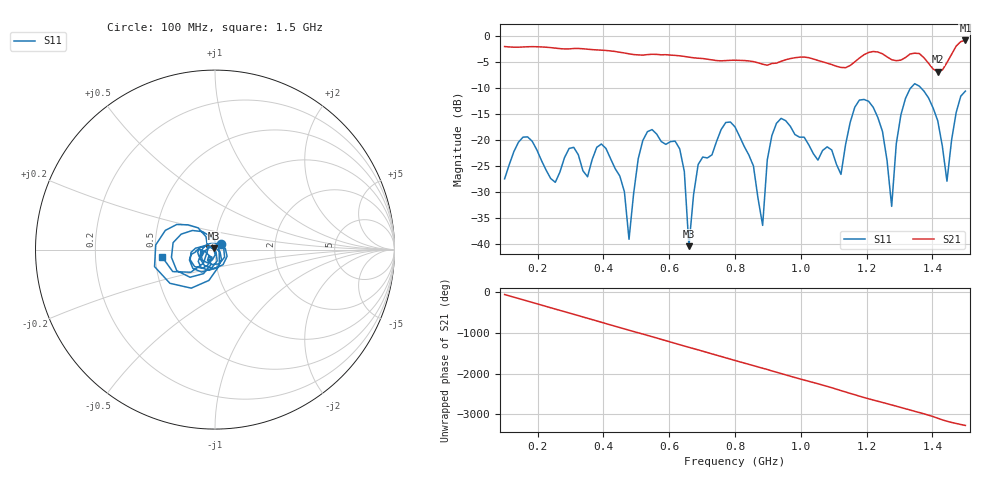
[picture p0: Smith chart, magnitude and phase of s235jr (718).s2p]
! NanoVNA-App
! Date: 2025-09-25 15:09:45
! Start: 100MHz Stop: 1,5GHz Points: 101
! S-Parameter data: F S11 S21 S12 S22
# Hz S RI R 50
!  Frequency  S11_Real  S11_Imag  S21_Real  S21_Imag  S12_Real  S12_Imag  S22_Real  S22_Imag
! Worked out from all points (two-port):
!   101 points, 100 MHz to 1.5 GHz, reference 50 ohm
!   highest |S21| = -0.79 dB at 1.5 GHz (marker M1); lowest = -6.8 dB at 1.416 GHz (marker M2)
!   |S21| within 3 dB of the highest: start of sweep to 636.6 MHz; 1.187 GHz to 1.258 GHz (71.51 MHz wide, 5.85 % of centre) (the widest 2 of 4)
!   lowest |S11| = -40.5 dB at 660 MHz (marker M3), VSWR 1.02, Z = 49.3 + j0.605 ohm
!   |S11| at or under -10 dB: start of sweep to 1.333 GHz; 1.366 GHz to end of sweep
!   S12 and S22 are empty: the file has one direction only
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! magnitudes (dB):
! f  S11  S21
! 100 MHz  -27.5  -2.0
! 156 MHz  -19.4  -2.0
! 338 MHz  -25.9  -2.4
! 408 MHz  -21.6  -2.7
! 478 MHz  -39.1  -3.4
! 520 MHz  -20.1  -3.6
! 576 MHz  -20.3  -3.6
! 632 MHz  -21.7  -3.7
! 660 MHz  -40.5  -4.0
! 688 MHz  -24.7  -4.2
! 800 MHz  -17.5  -4.6
! 884 MHz  -36.5  -5.4
! 926 MHz  -16.8  -5.2
! 1.038 GHz  -22.6  -4.4
! 1.122 GHz  -26.6  -6.0
! 1.206 GHz  -12.5  -3.1
! 1.276 GHz  -32.8  -4.5
! 1.29 GHz  -20.7  -4.7
! 1.332 GHz  -10.1  -3.4
! 1.416 GHz  -16.3  -6.8
! 1.444 GHz  -27.9  -5.0
! 1.5 GHz  -10.6  -0.8
